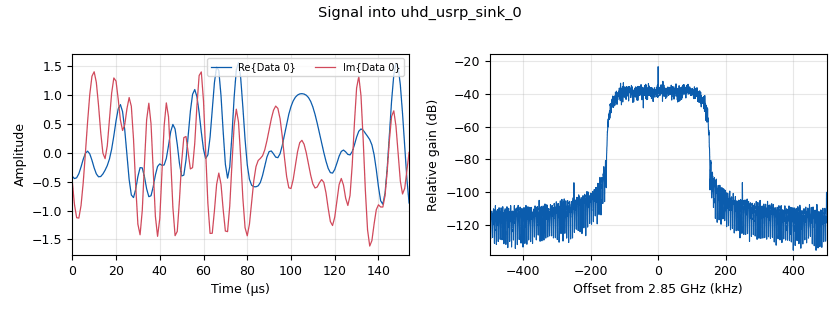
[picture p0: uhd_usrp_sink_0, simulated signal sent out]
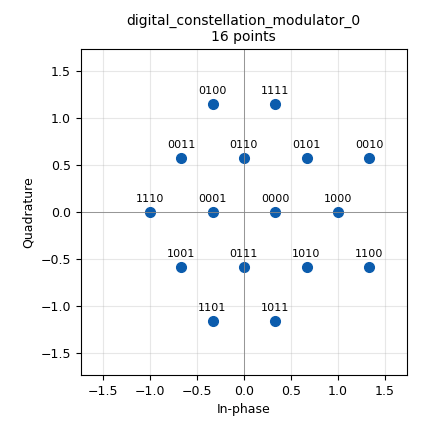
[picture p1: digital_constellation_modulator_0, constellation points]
options:
  parameters:
    author: pranav
    category: Custom
    description: 16-HexQAM simulation using native GRC blocks with custom constellation
    generate_options: qt_gui
    id: tx_hardware
    output_language: python
    title: 16-HQAM Hardware Transmitter
  states: {}

blocks:
- name: Alpha
  id: variable
  parameters:
    value: '0.22'
  states: {}
- name: center_freq
  id: variable
  parameters:
    value: '2850000000'
  states: {}
- name: hqam_const
  id: variable_constellation
  parameters:
    comment: '16-HexQAM: 16 custom hexagonal IQ points, Es~1'
    const_points: '[-0.3333+1.1547j, 0.3333+1.1547j, -0.6667+0.5774j, 0.0000+0.5774j, 0.6667+0.5774j, 1.3333+0.5774j, -0.3333+1e-10j, 0.3333+1e-10j, 1.0000+1e-10j, -0.6667-0.5774j, 0.0000-0.5774j, 0.6667-0.5774j, 1.3333-0.5774j, -0.3333-1.1547j, 0.3333-1.1547j, -1.0000+1e-09j]'
    dims: '1'
    normalization: digital.constellation.NO_NORMALIZATION
    precision: '8'
    rot_sym: '1'
    sym_map: '[7, 6, 5, 2, 0, 4, 3, 10, 8, 9, 11, 14, 12, 13, 15, 1]'
    type: calcdist
  states: {}
- name: samp_rate
  id: variable
  parameters:
    value: '1000000'
  states: {}
- name: sps
  id: variable
  parameters:
    value: '4'
  states: {}
- name: tx_gain
  id: variable
  parameters:
    value: '40'
  states: {}
- name: analog_random_source_x_0
  id: analog_random_source_x
  parameters:
    max: '255'
    min: '0'
    num_samps: '10000'
    repeat: 'True'
    type: byte
  states: {}
- name: digital_constellation_modulator_0
  id: digital_constellation_modulator
  parameters:
    comment: Maps bytes through hqam_const, applies RRC shaping at sps=4
    constellation: hqam_const
    differential: 'False'
    excess_bw: Alpha
    samples_per_symbol: sps
  states: {}
- name: epy_block_0
  id: epy_block
  parameters:
    _source_code: |
      import numpy as np
      from gnuradio import gr

      class blk(gr.basic_block):
          """Preamble Inserter Block"""
          def __init__(self, packet_len=1000):
              gr.basic_block.__init__(
                  self,
                  name='Preamble Inserter',
                  in_sig=[np.uint8],
                  out_sig=[np.uint8]
              )
              self.packet_len = packet_len
              self.preamble = np.array([8, 8, 8, 15, 15, 15, 8, 15, 15, 8, 15], dtype=np.uint8)
              self.ptr = 0
              self.state = 0

          def general_work(self, input_items, output_items):
              in0 = input_items[0]
              out = output_items[0]
              n_out = len(out)
              written = 0
              read = 0
              while written < n_out:
                  if self.state == 0:
                      rem = len(self.preamble) - self.ptr
                      to_write = min(rem, n_out - written)
                      out[written:written+to_write] = self.preamble[self.ptr:self.ptr+to_write]
                      self.ptr += to_write
                      written += to_write
                      if self.ptr == len(self.preamble):
                          self.state = 1
                          self.ptr = 0
                  elif self.state == 1:
                      available = len(in0) - read
                      if available == 0:
                          break
                      rem = self.packet_len - self.ptr
                      to_write = min(rem, available, n_out - written)
                      out[written:written+to_write] = in0[read:read+to_write]
                      self.ptr += to_write
                      written += to_write
                      read += to_write
                      if self.ptr == self.packet_len:
                          self.state = 0
                          self.ptr = 0
              self.consume(0, read)
              return written
    packet_len: '1000'
  states: {}
- name: uhd_usrp_sink_0
  id: uhd_usrp_sink
  parameters:
    ant0: '"TX/RX"'
    center_freq0: center_freq
    gain0: tx_gain
    samp_rate: samp_rate
    sync: pc_clock
    type: fc32
  states: {}
- name: seed_numpy
  id: variable
  parameters:
    comment: Seed the random generator for BER calculation
    value: numpy.random.seed(42)
  states: {}

connections:
- [analog_random_source_x_0, '0', epy_block_0, '0']
- [digital_constellation_modulator_0, '0', uhd_usrp_sink_0, '0']
- [epy_block_0, '0', digital_constellation_modulator_0, '0']

metadata:
  file_format: 1
  grc_version: 3.10.12.0
